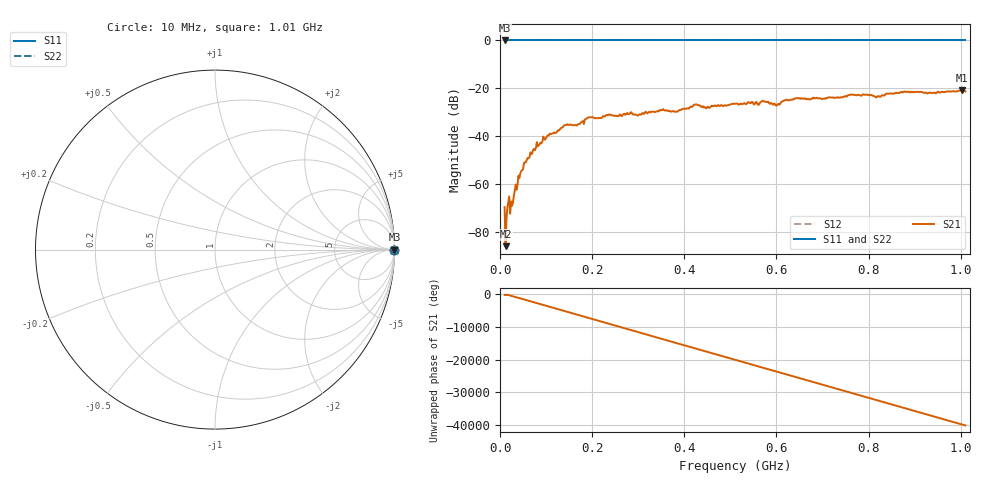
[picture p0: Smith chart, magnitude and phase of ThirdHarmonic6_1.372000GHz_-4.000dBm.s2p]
! 8/16/2025 3:32:37 PM
! C:\ANRITSUVNA\TEMP\TEMP.S2P
! CHANNEL.1
! TR.MEASUREMENT
! RAW.DATA
! RF.CORRECTION.OFF
! AVERAGING.OFF
! IF.BANDWIDTH: 5KHZ
! SWEEPTYPE:  FREQ.SWEEP(Linear)
! Reference Plane Port Info
! PORT:  PORT1  PORT2
! DISTANCE:  0  m  0  m
! TIME:  0  s  0  s
! PHASE.OFFSET:  0  deg.  0  deg.
! LOSS:  0  dB  0  dB
! REF.LOSS:  0  dB  0  dB
! REF.FREQ:  0  Hz  0  Hz
! Power Info
! POWER:  -20  dBm  -20  dBm
! EFF.POWER:  -20  dBm  -20  dBm
! SOURCE.ATTEN:  0  dB  0  dB
! TEST.ATTEN:  0  dB  0  dB
# GHZ S RI R 50.0
! FREQ.GHZ  S11RE  S11IM  S21RE  S21IM  S12RE  S12IM  S22RE  S22IM
!; PortSelection: Port_12
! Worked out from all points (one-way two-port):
!   501 points, 10 MHz to 1.01 GHz, reference 50 ohm
!   highest |S21| = -20.87 dB at 1.002 GHz (marker M1); lowest = -86.1 dB at 12 MHz (marker M2)
!   lowest |S11| = 0.0 dB at 10 MHz (marker M3)
!   |S11| at or under -10 dB: nowhere
!   |S22| runs from 0.0 to 0.0 dB; largest |S21 - S12| = 1.1
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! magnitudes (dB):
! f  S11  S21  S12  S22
! 10 MHz  0.0  -69.7  0.0  0.0
! 12 MHz  0.0  -86.1  0.0  0.0
! 20 MHz  0.0  -65.3  0.0  0.0
! 26 MHz  0.0  -69.2  0.0  0.0
! 36 MHz  0.0  -62.5  0.0  0.0
! 50 MHz  0.0  -53.9  0.0  0.0
! 76 MHz  0.0  -45.9  0.0  0.0
! 142 MHz  0.0  -35.4  0.0  0.0
! 178 MHz  0.0  -34.0  0.0  0.0
! 196 MHz  0.0  -32.2  0.0  0.0
! 344 MHz  0.0  -29.7  0.0  0.0
! 382 MHz  0.0  -29.8  0.0  0.0
! 424 MHz  0.0  -26.8  0.0  0.0
! 450 MHz  0.0  -27.8  0.0  0.0
! 510 MHz  0.0  -26.5  0.0  0.0
! 572 MHz  0.0  -25.4  0.0  0.0
! 602 MHz  0.0  -26.7  0.0  0.0
! 620 MHz  0.0  -24.9  0.0  0.0
! 678 MHz  0.0  -24.4  0.0  0.0
! 844 MHz  0.0  -22.3  0.0  0.0
! 1.002 GHz  0.0  -20.9  0.0  0.0
! 1.01 GHz  0.0  -21.3  0.0  0.0
